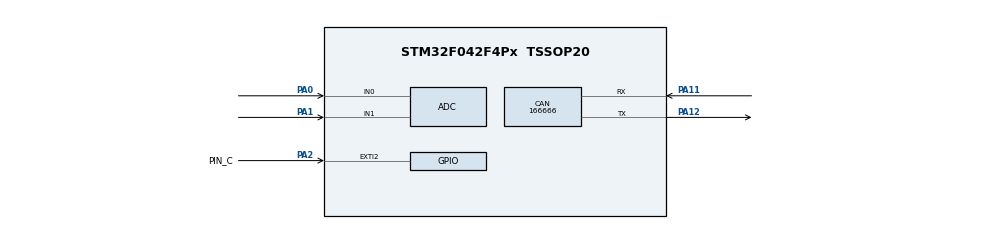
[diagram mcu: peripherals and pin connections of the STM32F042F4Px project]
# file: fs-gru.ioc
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ADC.ClockPrescaler=ADC_CLOCK_ASYNC_DIV1
ADC.ContinuousConvMode=ENABLE
ADC.DMAContinuousRequests=ENABLE
ADC.EnableAnalogWatchDog=false
CAN.CalculateBaudRate=166666
CAN.CalculateTimeBit=6000
CAN.CalculateTimeQuantum=2000.0
Dma.ADC.0.Direction=DMA_PERIPH_TO_MEMORY
Dma.ADC.0.Instance=DMA1_Channel1
Dma.ADC.0.MemDataAlignment=DMA_MDATAALIGN_HALFWORD
Dma.ADC.0.MemInc=DMA_MINC_ENABLE
Dma.ADC.0.Mode=DMA_CIRCULAR
Dma.ADC.0.PeriphDataAlignment=DMA_PDATAALIGN_HALFWORD
Dma.ADC.0.PeriphInc=DMA_PINC_DISABLE
Dma.ADC.0.Priority=DMA_PRIORITY_LOW
Dma.Request0=ADC
Mcu.Family=STM32F0
Mcu.Name=STM32F042F4Px
Mcu.Package=TSSOP20
NVIC.ADC1_IRQn=true\:0\:0\:false\:false\:true\:true\:true\:true
NVIC.DMA1_Channel1_IRQn=true\:0\:0\:false\:false\:true\:false\:true\:true
NVIC.EXTI2_3_IRQn=true\:0\:0\:false\:false\:true\:true\:true\:true
PA0.Mode=IN0
PA0.Signal=ADC_IN0
PA1.Mode=IN1
PA1.Signal=ADC_IN1
PA11.Mode=CAN_Activate
PA11.Signal=CAN_RX
PA12.Mode=CAN_Activate
PA12.Signal=CAN_TX
PA13.Mode=Serial_Wire
PA13.Signal=SYS_SWDIO
PA14.Mode=Serial_Wire
PA14.Signal=SYS_SWCLK
PA2.GPIO_Label=PIN_C
PA2.GPIO_ModeDefaultEXTI=GPIO_MODE_IT_RISING_FALLING
PA2.GPIO_PuPd=GPIO_PULLUP
PA2.Signal=GPXTI2
ProjectManager.HeapSize=0x200
ProjectManager.StackSize=0x400
ProjectManager.TargetToolchain=STM32CubeIDE
TIM14.AutoReloadPreload=TIM_AUTORELOAD_PRELOAD_ENABLE
TIM14.Period=47999
VP_SYS_VS_PINREMAP.Mode=PINREMAP
VP_TIM14_VS_ClockSourceINT.Mode=Enable_Timer
board=custom

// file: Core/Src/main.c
/* USER CODE BEGIN Header */
/**
  ******************************************************************************
  * @file           : main.c
  * @brief          : Main program body
  ******************************************************************************
  * @attention
  *
  * Copyright (c) 2024 STMicroelectronics.
  * All rights reserved.
  *
  * This software is licensed under terms that can be found in the LICENSE file
  * in the root directory of this software component.
  * If no LICENSE file comes with this software, it is provided AS-IS.
  *
  ******************************************************************************
  */
/* USER CODE END Header */
#include "main.h"

/* USER CODE BEGIN PD */
#define ADC_ID 0x0A0
#define TIMER_ID 0x0A1
/* USER CODE END PD */

ADC_HandleTypeDef hadc;
DMA_HandleTypeDef hdma_adc;

CAN_HandleTypeDef hcan;

TIM_HandleTypeDef htim14;

void SystemClock_Config(void);
static void MX_GPIO_Init(void);
static void MX_DMA_Init(void);
static void MX_ADC_Init(void);
static void MX_CAN_Init(void);
static void MX_TIM14_Init(void);
/* USER CODE BEGIN PFP */
//Esto es uint32 porque si no sale un warning de cojones...
uint32_t adc_values[2];

uint16_t adc_1, adc_2;
uint16_t diff;

CAN_TxHeaderTypeDef TxHeader_adc;
CAN_TxHeaderTypeDef TxHeader_timer;

uint32_t TxMailBox;

uint8_t TxData_adc[6];

uint8_t TxData_timer[4];

uint32_t millis = 0;

/* USER CODE END PFP */

int main(void)
{

  /* MCU Configuration--------------------------------------------------------*/

  /* Reset of all peripherals, Initializes the Flash interface and the Systick. */
  HAL_Init();

  /* Configure the system clock */
  SystemClock_Config();

  /* Initialize all configured peripherals */
  MX_GPIO_Init();
  MX_DMA_Init();
  MX_ADC_Init();
  MX_CAN_Init();
  MX_TIM14_Init();
  /* USER CODE BEGIN 2 */
  HAL_ADC_Start_DMA(&hadc, adc_values, 2);

  TxHeader_adc.DLC=6;
  TxHeader_adc.ExtId=0;
  TxHeader_adc.IDE= CAN_ID_STD;
  TxHeader_adc.RTR=CAN_RTR_DATA;
  TxHeader_adc.StdId= ADC_ID;
  TxHeader_adc.TransmitGlobalTime= DISABLE;

  TxHeader_timer.DLC=4;
  TxHeader_timer.ExtId=0;
  TxHeader_timer.IDE= CAN_ID_STD;
  TxHeader_timer.RTR=CAN_RTR_DATA;
  TxHeader_timer.StdId= TIMER_ID;
  TxHeader_timer.TransmitGlobalTime= DISABLE;

  /* USER CODE END 2 */

  /* Infinite loop */
  while (1)
  {

  }
}

void SystemClock_Config(void)
{
  RCC_OscInitTypeDef RCC_OscInitStruct = {0};
  RCC_ClkInitTypeDef RCC_ClkInitStruct = {0};

  /** Initializes the RCC Oscillators according to the specified parameters
  * in the RCC_OscInitTypeDef structure.
  */
  RCC_OscInitStruct.OscillatorType = RCC_OSCILLATORTYPE_HSI|RCC_OSCILLATORTYPE_HSI14;
  RCC_OscInitStruct.HSIState = RCC_HSI_ON;
  RCC_OscInitStruct.HSI14State = RCC_HSI14_ON;
  RCC_OscInitStruct.HSICalibrationValue = RCC_HSICALIBRATION_DEFAULT;
  RCC_OscInitStruct.HSI14CalibrationValue = 16;
  RCC_OscInitStruct.PLL.PLLState = RCC_PLL_NONE;
  if (HAL_RCC_OscConfig(&RCC_OscInitStruct) != HAL_OK)
  {
    Error_Handler();
  }

  /** Initializes the CPU, AHB and APB buses clocks
  */
  RCC_ClkInitStruct.ClockType = RCC_CLOCKTYPE_HCLK|RCC_CLOCKTYPE_SYSCLK
                              |RCC_CLOCKTYPE_PCLK1;
  RCC_ClkInitStruct.SYSCLKSource = RCC_SYSCLKSOURCE_HSI;
  RCC_ClkInitStruct.AHBCLKDivider = RCC_SYSCLK_DIV1;
  RCC_ClkInitStruct.APB1CLKDivider = RCC_HCLK_DIV1;

  if (HAL_RCC_ClockConfig(&RCC_ClkInitStruct, FLASH_LATENCY_0) != HAL_OK)
  {
    Error_Handler();
  }
}

static void MX_ADC_Init(void)
{

  ADC_ChannelConfTypeDef sConfig = {0};

  /** Configure the global features of the ADC (Clock, Resolution, Data Alignment and number of conversion)
  */
  hadc.Instance = ADC1;
  hadc.Init.ClockPrescaler = ADC_CLOCK_ASYNC_DIV1;
  hadc.Init.Resolution = ADC_RESOLUTION_12B;
  hadc.Init.DataAlign = ADC_DATAALIGN_RIGHT;
  hadc.Init.ScanConvMode = ADC_SCAN_DIRECTION_FORWARD;
  hadc.Init.EOCSelection = ADC_EOC_SINGLE_CONV;
  hadc.Init.LowPowerAutoWait = DISABLE;
  hadc.Init.LowPowerAutoPowerOff = DISABLE;
  hadc.Init.ContinuousConvMode = ENABLE;
  hadc.Init.DiscontinuousConvMode = DISABLE;
  hadc.Init.ExternalTrigConv = ADC_SOFTWARE_START;
  hadc.Init.ExternalTrigConvEdge = ADC_EXTERNALTRIGCONVEDGE_NONE;
  hadc.Init.DMAContinuousRequests = ENABLE;
  hadc.Init.Overrun = ADC_OVR_DATA_PRESERVED;
  if (HAL_ADC_Init(&hadc) != HAL_OK)
  {
    Error_Handler();
  }

  /** Configure for the selected ADC regular channel to be converted.
  */
  sConfig.Channel = ADC_CHANNEL_0;
  sConfig.Rank = ADC_RANK_CHANNEL_NUMBER;
  sConfig.SamplingTime = ADC_SAMPLETIME_1CYCLE_5;
  if (HAL_ADC_ConfigChannel(&hadc, &sConfig) != HAL_OK)
  {
    Error_Handler();
  }

  /** Configure for the selected ADC regular channel to be converted.
  */
  sConfig.Channel = ADC_CHANNEL_1;
  if (HAL_ADC_ConfigChannel(&hadc, &sConfig) != HAL_OK)
  {
    Error_Handler();
  }

}

static void MX_CAN_Init(void)
{

  hcan.Instance = CAN;
  hcan.Init.Prescaler = 16;
  hcan.Init.Mode = CAN_MODE_NORMAL;
  hcan.Init.SyncJumpWidth = CAN_SJW_1TQ;
  hcan.Init.TimeSeg1 = CAN_BS1_1TQ;
  hcan.Init.TimeSeg2 = CAN_BS2_1TQ;
  hcan.Init.TimeTriggeredMode = DISABLE;
  hcan.Init.AutoBusOff = DISABLE;
  hcan.Init.AutoWakeUp = DISABLE;
  hcan.Init.AutoRetransmission = DISABLE;
  hcan.Init.ReceiveFifoLocked = DISABLE;
  hcan.Init.TransmitFifoPriority = DISABLE;
  if (HAL_CAN_Init(&hcan) != HAL_OK)
  {
    Error_Handler();
  }

}

static void MX_TIM14_Init(void)
{

  htim14.Instance = TIM14;
  htim14.Init.Prescaler = 0;
  htim14.Init.CounterMode = TIM_COUNTERMODE_UP;
  htim14.Init.Period = 47999;
  htim14.Init.ClockDivision = TIM_CLOCKDIVISION_DIV1;
  htim14.Init.AutoReloadPreload = TIM_AUTORELOAD_PRELOAD_ENABLE;

}

static void MX_DMA_Init(void)
{

  /* DMA controller clock enable */
  __HAL_RCC_DMA1_CLK_ENABLE();

  /* DMA interrupt init */
  /* DMA1_Channel1_IRQn interrupt configuration */
  HAL_NVIC_SetPriority(DMA1_Channel1_IRQn, 0, 0);
  HAL_NVIC_EnableIRQ(DMA1_Channel1_IRQn);

}

static void MX_GPIO_Init(void)
{
  GPIO_InitTypeDef GPIO_InitStruct = {0};

  /* GPIO Ports Clock Enable */
  __HAL_RCC_GPIOA_CLK_ENABLE();

  /*Configure GPIO pin : PIN_C_Pin */
  GPIO_InitStruct.Pin = PIN_C_Pin;
  GPIO_InitStruct.Mode = GPIO_MODE_IT_RISING_FALLING;
  GPIO_InitStruct.Pull = GPIO_PULLUP;
  HAL_GPIO_Init(PIN_C_GPIO_Port, &GPIO_InitStruct);

  /* EXTI interrupt init*/
  HAL_NVIC_SetPriority(EXTI2_3_IRQn, 0, 0);
  HAL_NVIC_EnableIRQ(EXTI2_3_IRQn);

}

/* USER CODE BEGIN 4 */
void HAL_GPIO_EXTI_Callback(uint16_t GPIO_Pin)
{
	if (HAL_GPIO_ReadPin(PIN_C_GPIO_Port, PIN_C_Pin) == GPIO_PIN_RESET) {
		adc_1 = adc_values[0];
		adc_2 = adc_values[1];
		diff = adc_1 - adc_2;

		__HAL_TIM_SET_COUNTER(&htim14, 0);
		HAL_TIM_Base_Start_IT(&htim14);

	    } else {
	    	HAL_TIM_Base_Stop(&htim14);

	    	adc_1 = adc_values[0];
	    	adc_2 = adc_values[1];

	    	TxData_adc[0]=(diff >> 8) & 0xFF;
	    	TxData_adc[1]=diff & 0xFF;

	    	TxData_adc[2]=(adc_1 >> 8) & 0xFF;
	    	TxData_adc[3]=adc_1 & 0xFF;

	    	TxData_adc[4]=(adc_2 >> 8) & 0xFF;
	  	    TxData_adc[5]=adc_2 & 0xFF;

	  	    TxData_timer[0] = (millis >> 24) & 0xFF;
	  	  	TxData_timer[1] = (millis >> 16) & 0xFF;
	  	  	TxData_timer[2] = (millis >> 8) & 0xFF;
	      	TxData_timer[3] = millis & 0xFF;

	    	HAL_CAN_AddTxMessage(&hcan, &TxHeader_adc, TxData_adc, &TxMailBox);
	    	HAL_CAN_AddTxMessage(&hcan, &TxHeader_timer, TxData_timer, &TxMailBox);

	    	millis = 0;

	    }
}

void HAL_TIM_PeriodElapsedCallback(TIM_HandleTypeDef *htim)
{
  /* Prevent unused argument(s) compilation warning */
	if (htim->Instance == TIM14)
	{
		millis++;
	}

  /* NOTE : This function should not be modified, when the callback is needed,
            the HAL_TIM_PeriodElapsedCallback could be implemented in the user file
   */
}
/* USER CODE END 4 */

void Error_Handler(void)
{
  __disable_irq();
  while (1)
  {
  }
}
